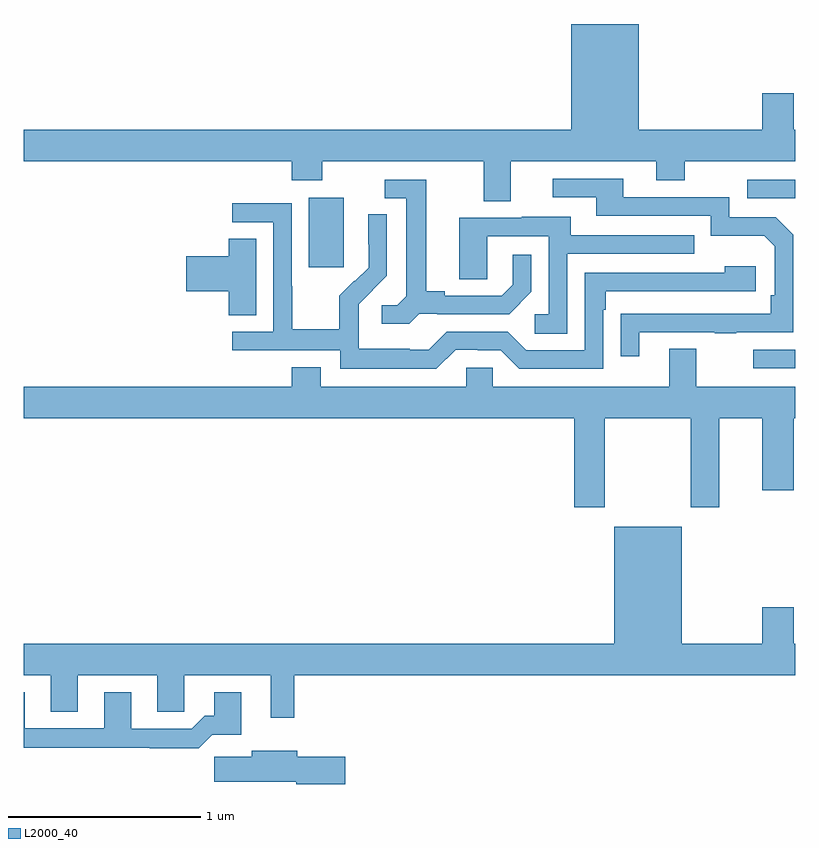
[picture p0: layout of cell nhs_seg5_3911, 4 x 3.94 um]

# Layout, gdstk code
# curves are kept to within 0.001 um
import gdstk
lib = gdstk.Library(unit=1e-6, precision=1e-09)
def R(c, l, rs):  # rectangles x0, y0, x1, y1
    for r in rs: c.add(gdstk.rectangle(r[:2], r[2:], *l))
def P(c, l, *ps):  # polygons
    for p in ps: c.add(gdstk.Polygon(p, *l))
L2000_40 = (2000, 40)

nhs_seg5_3911 = lib.new_cell('nhs_seg5_3911')
R(nhs_seg5_3911, L2000_40, [(344.781,861.015,345,861.111), (342.479,861.537,342.658,861.898), (344.751,861.897,345,861.993)])
P(nhs_seg5_3911, L2000_40, [(343.525,862.088),(344.279,862.088),(344.279,861.989),(344.427,861.989),(344.427,862.088),(345,862.088),(345,862.252),(344.992,862.252),(344.992,862.441),(344.828,862.441),(344.828,862.252),(344.188,862.252),(344.188,862.799),(343.838,862.799),(343.838,862.252),(341,862.252),(341,862.088),(342.389,862.088),(342.389,861.989),(342.549,861.989),(342.549,862.088),(343.385,862.088),(343.385,861.88),(343.525,861.88)],
  [(344.191,861.201),(344.581,861.201),(344.581,861.196),(344.693,861.196),(344.693,861.201),(344.988,861.201),(344.988,861.708),(344.898,861.798),(344.658,861.798),(344.658,861.9),(344.107,861.9),(344.107,861.996),(343.743,861.996),(343.743,861.9),(343.967,861.9),(343.967,861.804),(344.562,861.804),(344.562,861.701),(344.839,861.701),(344.892,861.648),(344.892,861.394),(344.872,861.394),(344.872,861.297),(344.095,861.296),(344.095,861.078),(344.191,861.078)],
  [(343.05,861.297),(343.144,861.297),(343.144,861.294),(343.516,861.294),(343.632,861.41),(343.632,861.604),(343.535,861.604),(343.535,861.447),(343.478,861.39),(343.183,861.39),(343.183,861.413),(343.087,861.413),(343.087,861.993),(342.873,861.993),(342.873,861.897),(342.983,861.897),(342.983,861.389),(342.936,861.342),(342.855,861.342),(342.855,861.245),(342.998,861.245)],
  [(343.239,861.111),(343.355,861.111),(343.355,861.108),(343.473,861.108),(343.569,861.012),(344.004,861.012),(344.004,861.317),(344.017,861.317),(344.017,861.414),(344.794,861.414),(344.794,861.544),(344.633,861.544),(344.633,861.51),(343.908,861.51),(343.908,861.108),(343.605,861.108),(343.509,861.204),(343.194,861.204),(343.101,861.111),(343.001,861.111),(343.001,861.115),(342.738,861.115),(342.738,861.249),(342.736,861.249),(342.736,861.346),(342.882,861.494),(342.882,861.812),(342.786,861.812),(342.786,861.658),(342.788,861.658),(342.788,861.536),(342.717,861.465),(342.714,861.468),(342.637,861.391),(342.637,861.217),(342.393,861.217),(342.393,861.44),(342.39,861.44),(342.39,861.87),(342.081,861.87),(342.081,861.771),(342.294,861.771),(342.294,861.204),(342.081,861.204),(342.081,861.108),(342.642,861.108),(342.642,861.011),(343.139,861.011)],
  [(343.818,861.609),(344.477,861.609),(344.477,861.705),(343.837,861.705),(343.837,861.799),(343.583,861.799),(343.583,861.795),(343.259,861.795),(343.259,861.475),(343.404,861.475),(343.404,861.699),(343.722,861.699),(343.722,861.294),(343.65,861.294),(343.65,861.193),(343.818,861.193)],
  [(342.205,861.686),(342.062,861.686),(342.062,861.596),(341.844,861.596),(341.844,861.413),(342.062,861.413),(342.062,861.289),(342.205,861.289)],
  [(344.485,861.115),(344.345,861.115),(344.345,860.92),(343.431,860.92),(343.431,861.018),(343.293,861.018),(343.293,860.92),(342.541,860.92),(342.541,861.019),(342.389,861.019),(342.389,860.92),(341,860.92),(341,860.756),(343.853,860.756),(343.853,860.295),(344.013,860.295),(344.013,860.756),(344.458,860.756),(344.458,860.295),(344.605,860.295),(344.605,860.756),(344.828,860.756),(344.828,860.382),(344.992,860.382),(344.992,860.756),(345,860.756),(345,860.92),(344.485,860.92)],
  [(342.403,859.424),(345,859.424),(345,859.588),(344.992,859.588),(344.992,859.777),(344.828,859.777),(344.828,859.588),(344.41,859.588),(344.41,860.194),(344.06,860.194),(344.06,859.588),(341,859.588),(341,859.424),(341.141,859.424),(341.141,859.234),(341.281,859.234),(341.281,859.424),(341.693,859.424),(341.693,859.234),(341.832,859.234),(341.832,859.424),(342.281,859.424),(342.281,859.203),(342.403,859.203)],
  [(341.978,859.115),(342.127,859.115),(342.127,859.336),(341.987,859.336),(341.987,859.213),(341.938,859.213),(341.871,859.146),(341.557,859.146),(341.557,859.336),(341.417,859.336),(341.417,859.149),(341.005,859.149),(341.005,859.336),(341,859.336),(341,859.048),(341.653,859.048),(341.653,859.046),(341.909,859.046)],
  [(342.667,859.002),(342.418,859.002),(342.418,859.033),(342.182,859.033),(342.182,859.001),(341.988,859.001),(341.988,858.872),(342.414,858.872),(342.414,858.86),(342.667,858.86)])

lib.write_gds('nhs_seg5_3911.gds')
